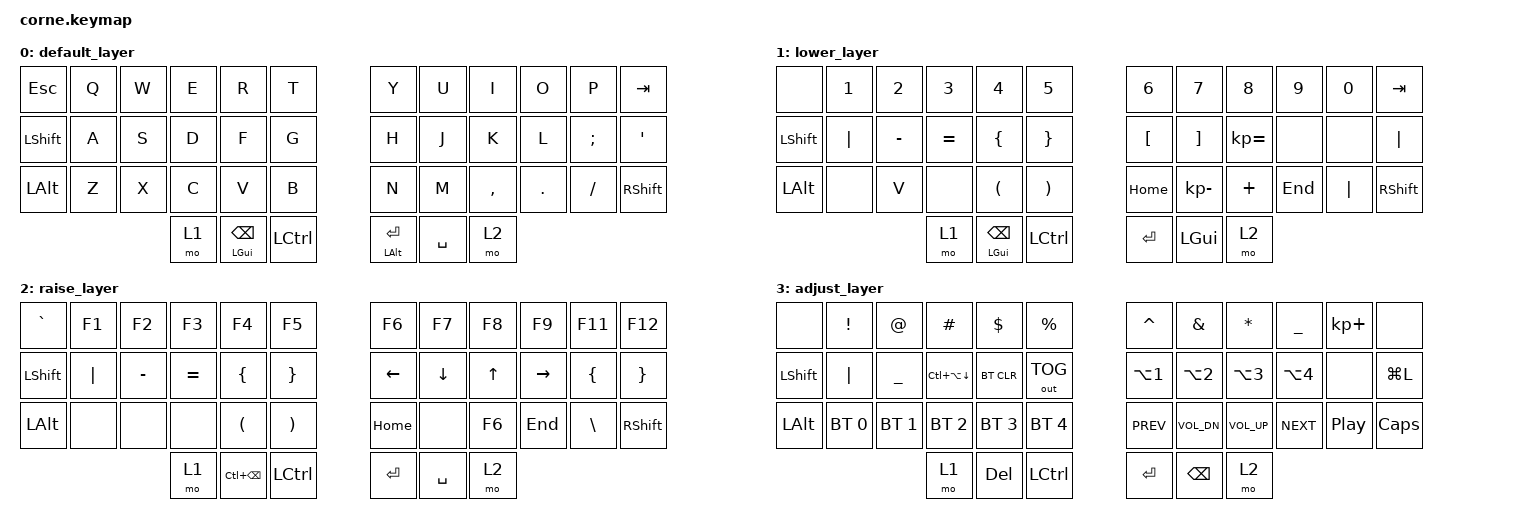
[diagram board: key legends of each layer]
/*
 * Copyright (c) 2020 The ZMK Contributors
 *
 * SPDX-License-Identifier: MIT
 */

#include <behaviors.dtsi>
#include <dt-bindings/zmk/keys.h>
#include <dt-bindings/zmk/bt.h>
#include <dt-bindings/zmk/outputs.h>

/ {
        conditional_layers {
                compatible = "zmk,conditional-layers";
                adjust {
                        if-layers = <1 2>;
                        then-layer = <3>;
                };
        };

        keymap {
                compatible = "zmk,keymap";

                default_layer {
// -----------------------------------------------------------------------------------------
// | ESC  |  Q  |  W  |  E  |  R  |  T  |   |  Y  |  U  |  I  |  O  |  P  | TAB  |
// | SHFT |  A  |  S  |  D  |  F  |  G  |   |  H  |  J  |  K  |  L  |  ;  |  '   |
// | ALT  |  Z  |  X  |  C  |  V  |  B  |   |  N  |  M  |  ,  |  .  |  /  | SHFT |
//               | LWR | GUI/BSPC | CTRL |   | ALT/ENT | SPC | RSE |
                        bindings = <
   &kp ESC   &kp Q &kp W &kp E &kp R &kp T        &kp Y &kp U &kp I     &kp O   &kp P    &kp TAB
   &kp LSHFT &kp A &kp S &kp D &kp F &kp G        &kp H &kp J &kp K     &kp L   &kp SEMI &kp SQT
   &kp LALT  &kp Z &kp X &kp C &kp V &kp B        &kp N &kp M &kp COMMA &kp DOT &kp FSLH &kp RSHFT
                    &mo 1 &mt LGUI BSPC &kp LCTRL   &mt LALT ENTER &kp SPACE &mo 2
                        >;
                };

                lower_layer {
// -----------------------------------------------------------------------------------------
// |     |  1  |  2  |  3  |  4  |  5  |   |  6  |  7  |  8  |  9  |  0  | TAB  |
// | SHFT|  |  |  -  |  =  |  {  |  }  |   |  [  |  ]  | =pd |     |     |  |   |
// | ALT |     |  V  |     |  (  |  )  |   | HOME| -pd |  +  | END |  |  | SHFT |
//               | LWR | GUI/BSPC | CTRL |   | ENT | GUI | RSE |
                        bindings = <
   &none     &kp N1   &kp N2    &kp N3    &kp N4   &kp N5     &kp N6   &kp N7       &kp N8       &kp N9  &kp N0   &kp TAB
   &kp LSHFT &kp PIPE &kp MINUS &kp EQUAL &kp LBRC &kp RBRC   &kp LBKT &kp RBKT     &kp KP_EQUAL &none   &none    &kp PIPE
   &kp LALT  &none    &kp V     &none     &kp LPAR &kp RPAR   &kp HOME &kp KP_MINUS &kp PLUS     &kp END &kp PIPE &kp RSHFT
                      &mo 1 &mt LGUI BSPC &kp LCTRL   &kp ENTER &kp LGUI &mo 2
                        >;
                };

                raise_layer {
// -----------------------------------------------------------------------------------------
// |  `  | F1  | F2  | F3  | F4  | F5  |   | F6  | F7  | F8  | F9  | F11 | F12  |
// | SHFT|  |  |  -  |  =  |  {  |  }  |   | LFT | DWN | UP  | RGT |  {  |  }   |
// | ALT |     |     |     |  (  |  )  |   | HOME|     | F6  | END |  \  | SHFT |
//               | LWR | CTRL+BSPC | CTRL |   | ENT | SPC | RSE |
                        bindings = <
   &kp GRAVE &kp F1   &kp F2    &kp F3    &kp F4   &kp F5     &kp F6   &kp F7   &kp F8 &kp F9    &kp F11  &kp F12
   &kp LSHFT &kp PIPE &kp MINUS &kp EQUAL &kp LBRC &kp RBRC   &kp LEFT &kp DOWN &kp UP &kp RIGHT &kp LBRC &kp RBRC
   &kp LALT  &none    &none     &none     &kp LPAR &kp RPAR   &kp HOME &none    &kp F6 &kp END   &kp BSLH &kp RSHFT
                      &mo 1 &kp LC(BSPC) &kp LCTRL   &kp ENTER &kp SPACE &mo 2
                        >;
                };

                adjust_layer {
// -----------------------------------------------------------------------------------------
// |     |  !  |  @  |  #  |  $  |  %  |   |  ^  |  &  |  *  |  _  | +pd |      |
// | SHFT|  |  |  _  | C+A+DN | BTCLR | OUT |   |ALT1 |ALT2 |ALT3 |ALT4 |     | GUI+L|
// | ALT | BT0 | BT1 | BT2 | BT3 | BT4 |   |PREV |VOL- |VOL+ |NEXT |PLAY | CAPS |
//               | LWR | DEL | CTRL |   | ENT | BSPC | RSE |
                        bindings = <
   &none     &kp EXCL     &kp AT       &kp HASH         &kp DLLR     &kp PRCNT      &kp CARET  &kp AMPS     &kp ASTRK    &kp UNDER  &kp KP_PLUS &none
   &kp LSHFT &kp PIPE     &kp UNDER    &kp LC(LA(DOWN)) &bt BT_CLR   &out OUT_TOG   &kp LA(N1) &kp LA(N2)   &kp LA(N3)   &kp LA(N4) &none       &kp LG(L)
   &kp LALT  &bt BT_SEL 0 &bt BT_SEL 1 &bt BT_SEL 2     &bt BT_SEL 3 &bt BT_SEL 4   &kp C_PREV &kp C_VOL_DN &kp C_VOL_UP &kp C_NEXT &kp C_PP    &kp CAPS
                      &mo 1 &kp DEL &kp LCTRL   &kp ENTER &kp BSPC &mo 2
                        >;
                };
        };
};
